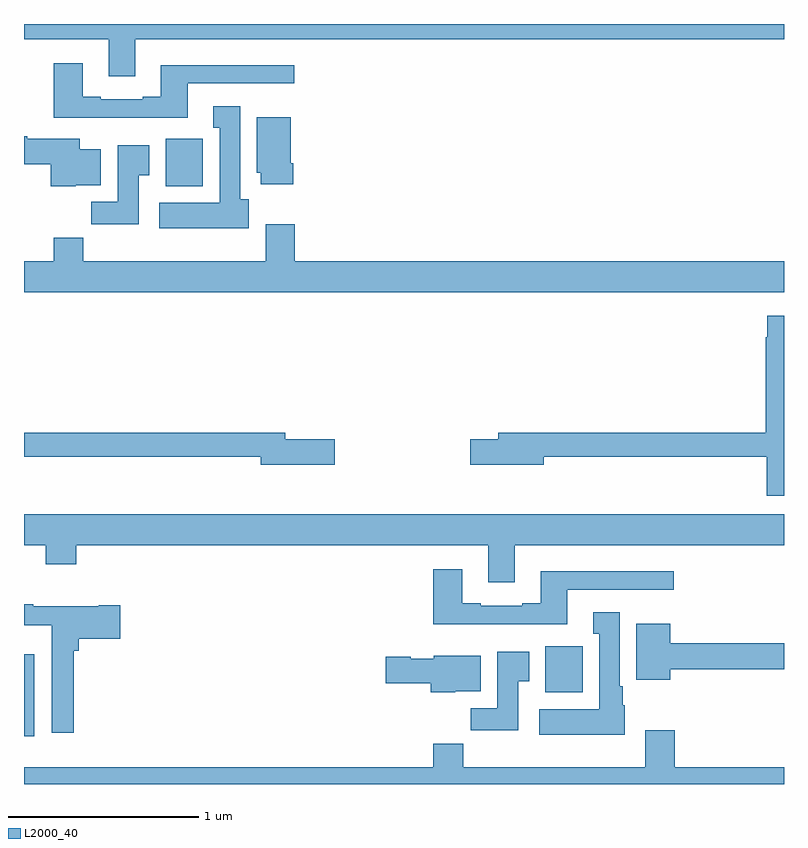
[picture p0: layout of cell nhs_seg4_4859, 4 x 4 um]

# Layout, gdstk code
import gdstk
lib = gdstk.Library(unit=1e-6, precision=1e-09)
def R(c, l, rs):  # rectangles x0, y0, x1, y1
    for r in rs: c.add(gdstk.rectangle(r[:2], r[2:], *l))
def P(c, l, *ps):  # polygons
    for p in ps: c.add(gdstk.Polygon(p, *l))
L2000_40 = (2000, 40)

nhs_seg4_4859 = lib.new_cell('nhs_seg4_4859')
R(nhs_seg4_4859, L2000_40, [(373,793.152,373.054,793.582), (375.743,793.382,375.94,793.624), (373.745,796.046,373.941,796.297)])
P(nhs_seg4_4859, L2000_40, [(373.585,796.82),(377,796.82),(377,796.9),(373,796.9),(373,796.82),(373.445,796.82),(373.445,796.626),(373.585,796.626)],
  [(373.861,796.587),(374.422,796.587),(374.422,796.684),(373.721,796.684),(373.721,796.516),(373.625,796.516),(373.625,796.503),(373.405,796.503),(373.405,796.516),(373.309,796.516),(373.309,796.693),(373.157,796.693),(373.157,796.406),(373.861,796.406)],
  [(374.182,795.978),(374.137,795.978),(374.137,796.468),(373.997,796.468),(373.997,796.355),(374.03,796.355),(374.03,795.958),(373.713,795.958),(373.713,795.824),(374.182,795.824)],
  [(374.417,796.168),(374.404,796.168),(374.404,796.408),(374.225,796.408),(374.225,796.116),(374.246,796.116),(374.246,796.056),(374.417,796.056)],
  [(373.272,796.052),(373.405,796.052),(373.405,796.24),(373.294,796.24),(373.294,796.297),(373.018,796.297),(373.018,796.31),(373,796.31),(373,796.163),(373.142,796.163),(373.142,796.046),(373.272,796.046)],
  [(373.603,796.105),(373.66,796.105),(373.66,796.261),(373.493,796.261),(373.493,795.964),(373.354,795.964),(373.354,795.846),(373.603,795.846)],
  [(377,795.652),(374.426,795.652),(374.426,795.847),(374.273,795.847),(374.273,795.652),(373.313,795.652),(373.313,795.776),(373.157,795.776),(373.157,795.652),(373,795.652),(373,795.488),(377,795.488)],
  [(377,795.364),(376.911,795.364),(376.911,795.251),(376.903,795.251),(376.903,794.75),(375.497,794.75),(375.497,794.714),(375.348,794.714),(375.348,794.579),(375.736,794.579),(375.736,794.622),(376.91,794.622),(376.91,794.418),(377,794.418)],
  [(374.635,794.714),(374.374,794.714),(374.374,794.75),(373,794.75),(373,794.622),(374.246,794.622),(374.246,794.579),(374.635,794.579)],
  [(375.583,794.156),(377,794.156),(377,794.32),(373,794.32),(373,794.156),(373.114,794.156),(373.114,794.057),(373.274,794.057),(373.274,794.156),(375.443,794.156),(375.443,793.962),(375.583,793.962)],
  [(375.859,793.923),(376.42,793.923),(376.42,794.02),(375.719,794.02),(375.719,793.852),(375.623,793.852),(375.623,793.839),(375.403,793.839),(375.403,793.852),(375.307,793.852),(375.307,794.029),(375.155,794.029),(375.155,793.742),(375.859,793.742)],
  [(373.262,793.601),(373.289,793.601),(373.289,793.664),(373.507,793.664),(373.507,793.842),(373.394,793.842),(373.394,793.836),(373.049,793.836),(373.049,793.846),(373,793.846),(373,793.736),(373.146,793.736),(373.146,793.17),(373.262,793.17)],
  [(376.162,793.314),(376.15,793.314),(376.15,793.414),(376.135,793.414),(376.135,793.804),(375.995,793.804),(375.995,793.691),(376.028,793.691),(376.028,793.294),(375.711,793.294),(375.711,793.16),(376.162,793.16)],
  [(376.402,793.504),(377,793.504),(377,793.64),(376.402,793.64),(376.402,793.744),(376.223,793.744),(376.223,793.448),(376.402,793.448)],
  [(375.601,793.441),(375.658,793.441),(375.658,793.597),(375.491,793.597),(375.491,793.3),(375.352,793.3),(375.352,793.182),(375.601,793.182)],
  [(375.27,793.388),(375.403,793.388),(375.403,793.576),(375.156,793.576),(375.156,793.558),(375.036,793.558),(375.036,793.571),(374.904,793.571),(374.904,793.429),(375.14,793.429),(375.14,793.382),(375.27,793.382)],
  [(377,792.988),(376.424,792.988),(376.424,793.183),(376.271,793.183),(376.271,792.988),(375.311,792.988),(375.311,793.112),(375.155,793.112),(375.155,792.988),(373,792.988),(373,792.9),(377,792.9)])

lib.write_gds('nhs_seg4_4859.gds')
